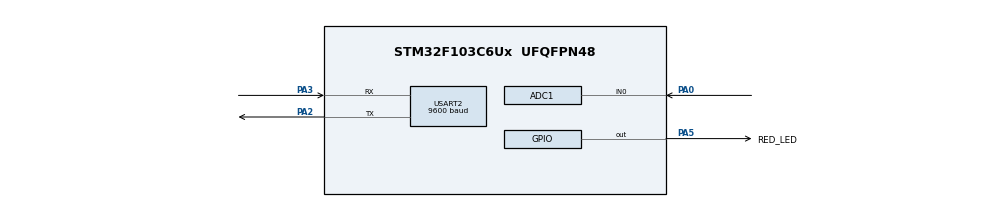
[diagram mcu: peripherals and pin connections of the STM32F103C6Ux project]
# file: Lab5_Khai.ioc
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ADC1.Channel-0\#ChannelRegularConversion=ADC_CHANNEL_0
ADC1.ContinuousConvMode=ENABLE
ADC1.NbrOfConversionFlag=1
ADC1.Rank-0\#ChannelRegularConversion=1
ADC1.SamplingTime-0\#ChannelRegularConversion=ADC_SAMPLETIME_1CYCLE_5
ADC1.master=1
Mcu.Family=STM32F1
Mcu.Name=STM32F103C6Ux
Mcu.Package=UFQFPN48
NVIC.PriorityGroup=NVIC_PRIORITYGROUP_4
NVIC.TIM2_IRQn=true\:0\:0\:false\:false\:true\:true\:true
NVIC.USART2_IRQn=true\:0\:0\:false\:false\:true\:true\:true
PA0-WKUP.Signal=ADCx_IN0
PA13.Mode=Serial_Wire
PA13.Signal=SYS_JTMS-SWDIO
PA14.Mode=Serial_Wire
PA14.Signal=SYS_JTCK-SWCLK
PA2.Mode=Asynchronous
PA2.Signal=USART2_TX
PA3.Mode=Asynchronous
PA3.Signal=USART2_RX
PA5.GPIO_Label=RED_LED
PA5.Signal=GPIO_Output
ProjectManager.HeapSize=0x200
ProjectManager.StackSize=0x400
ProjectManager.TargetToolchain=STM32CubeIDE
RCC.APB1Freq_Value=8000000
RCC.APB2Freq_Value=8000000
SH.ADCx_IN0.0=ADC1_IN0,IN0
TIM2.Period=9
TIM2.Prescaler=7999
USART2.BaudRate=9600
USART2.VirtualMode=VM_ASYNC
VP_TIM2_VS_ClockSourceINT.Mode=Internal
board=custom

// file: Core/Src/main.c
/* USER CODE BEGIN Header */
/**
  ******************************************************************************
  * @file           : main.c
  * @brief          : Main program body
  ******************************************************************************
  * @attention
  *
  * <h2><center>&copy; Copyright (c) 2022 STMicroelectronics.
  * All rights reserved.</center></h2>
  *
  * This software component is licensed by ST under BSD 3-Clause license,
  * the "License"; You may not use this file except in compliance with the
  * License. You may obtain a copy of the License at:
  *                        opensource.org/licenses/BSD-3-Clause
  *
  ******************************************************************************
  */
/* USER CODE END Header */
#include "main.h"
#include "software_timer.h"
#include "fsm_auto.h"

ADC_HandleTypeDef hadc1;

TIM_HandleTypeDef htim2;

UART_HandleTypeDef huart2;

void SystemClock_Config(void);
static void MX_GPIO_Init(void);
static void MX_ADC1_Init(void);
static void MX_USART2_UART_Init(void);
static void MX_TIM2_Init(void);

/* USER CODE BEGIN 0 */
uint8_t temp = 0;
uint8_t index_buffer = 0;
uint8_t buffer_flag = 0;
uint8_t recieve_buffer= 0;

uint8_t buffer[ MAX_BUFFER_SIZE ];
uint8_t command_length= 0;
void HAL_UART_RxCpltCallback ( UART_HandleTypeDef * huart ) {
    if( huart -> Instance == USART2 ) {
    	switch(temp) {
    	case '\b':
			buffer[command_length - 1] = 0;
			command_length--;
    	break;
    	case ' ':		// space
//    		ERROR_CODE = INVALID_INPUT;
//    		UARTstate = ERROR;
    	break;
    	case '\r':
    		buffer_flag = 1;
    		break;
    	default:
    		buffer[command_length] = temp;
    		command_length++;
    		break;
    	}
		HAL_UART_Receive_IT (& huart2 , & temp , 1) ;
    }
    timerRun();
}
/* USER CODE END 0 */

int main(void)
{

  /* MCU Configuration--------------------------------------------------------*/

  /* Reset of all peripherals, Initializes the Flash interface and the Systick. */
  HAL_Init();

  /* Configure the system clock */
  SystemClock_Config();

  /* Initialize all configured peripherals */
  MX_GPIO_Init();
  MX_ADC1_Init();
  MX_USART2_UART_Init();
  MX_TIM2_Init();
  /* USER CODE BEGIN 2 */
  HAL_UART_Receive_IT (& huart2 , & temp , 1) ;
  HAL_TIM_Base_Start_IT (& htim2 ) ;
  /* USER CODE END 2 */

  /* Infinite loop */
  while (1)
  {
	  if( buffer_flag == 1) {
	  	command_parser_fsm ();
	  	buffer_flag = 0;
	  }
	  uart_communiation_fsm ();
  }
}

void SystemClock_Config(void)
{
  RCC_OscInitTypeDef RCC_OscInitStruct = {0};
  RCC_ClkInitTypeDef RCC_ClkInitStruct = {0};
  RCC_PeriphCLKInitTypeDef PeriphClkInit = {0};

  /** Initializes the RCC Oscillators according to the specified parameters
  * in the RCC_OscInitTypeDef structure.
  */
  RCC_OscInitStruct.OscillatorType = RCC_OSCILLATORTYPE_HSI;
  RCC_OscInitStruct.HSIState = RCC_HSI_ON;
  RCC_OscInitStruct.HSICalibrationValue = RCC_HSICALIBRATION_DEFAULT;
  RCC_OscInitStruct.PLL.PLLState = RCC_PLL_NONE;
  if (HAL_RCC_OscConfig(&RCC_OscInitStruct) != HAL_OK)
  {
    Error_Handler();
  }
  /** Initializes the CPU, AHB and APB buses clocks
  */
  RCC_ClkInitStruct.ClockType = RCC_CLOCKTYPE_HCLK|RCC_CLOCKTYPE_SYSCLK
                              |RCC_CLOCKTYPE_PCLK1|RCC_CLOCKTYPE_PCLK2;
  RCC_ClkInitStruct.SYSCLKSource = RCC_SYSCLKSOURCE_HSI;
  RCC_ClkInitStruct.AHBCLKDivider = RCC_SYSCLK_DIV1;
  RCC_ClkInitStruct.APB1CLKDivider = RCC_HCLK_DIV1;
  RCC_ClkInitStruct.APB2CLKDivider = RCC_HCLK_DIV1;

  if (HAL_RCC_ClockConfig(&RCC_ClkInitStruct, FLASH_LATENCY_0) != HAL_OK)
  {
    Error_Handler();
  }
  PeriphClkInit.PeriphClockSelection = RCC_PERIPHCLK_ADC;
  PeriphClkInit.AdcClockSelection = RCC_ADCPCLK2_DIV2;
  if (HAL_RCCEx_PeriphCLKConfig(&PeriphClkInit) != HAL_OK)
  {
    Error_Handler();
  }
}

static void MX_ADC1_Init(void)
{

  ADC_ChannelConfTypeDef sConfig = {0};

  /** Common config
  */
  hadc1.Instance = ADC1;
  hadc1.Init.ScanConvMode = ADC_SCAN_DISABLE;
  hadc1.Init.ContinuousConvMode = ENABLE;
  hadc1.Init.DiscontinuousConvMode = DISABLE;
  hadc1.Init.ExternalTrigConv = ADC_SOFTWARE_START;
  hadc1.Init.DataAlign = ADC_DATAALIGN_RIGHT;
  hadc1.Init.NbrOfConversion = 1;
  if (HAL_ADC_Init(&hadc1) != HAL_OK)
  {
    Error_Handler();
  }
  /** Configure Regular Channel
  */
  sConfig.Channel = ADC_CHANNEL_0;
  sConfig.Rank = ADC_REGULAR_RANK_1;
  sConfig.SamplingTime = ADC_SAMPLETIME_1CYCLE_5;
  if (HAL_ADC_ConfigChannel(&hadc1, &sConfig) != HAL_OK)
  {
    Error_Handler();
  }

}

static void MX_TIM2_Init(void)
{

  TIM_ClockConfigTypeDef sClockSourceConfig = {0};
  TIM_MasterConfigTypeDef sMasterConfig = {0};

  htim2.Instance = TIM2;
  htim2.Init.Prescaler = 7999;
  htim2.Init.CounterMode = TIM_COUNTERMODE_UP;
  htim2.Init.Period = 9;
  htim2.Init.ClockDivision = TIM_CLOCKDIVISION_DIV1;
  htim2.Init.AutoReloadPreload = TIM_AUTORELOAD_PRELOAD_DISABLE;
  if (HAL_TIM_Base_Init(&htim2) != HAL_OK)
  {
    Error_Handler();
  }
  sClockSourceConfig.ClockSource = TIM_CLOCKSOURCE_INTERNAL;
  if (HAL_TIM_ConfigClockSource(&htim2, &sClockSourceConfig) != HAL_OK)
  {
    Error_Handler();
  }
  sMasterConfig.MasterOutputTrigger = TIM_TRGO_RESET;
  sMasterConfig.MasterSlaveMode = TIM_MASTERSLAVEMODE_DISABLE;
  if (HAL_TIMEx_MasterConfigSynchronization(&htim2, &sMasterConfig) != HAL_OK)
  {
    Error_Handler();
  }

}

static void MX_USART2_UART_Init(void)
{

  huart2.Instance = USART2;
  huart2.Init.BaudRate = 9600;
  huart2.Init.WordLength = UART_WORDLENGTH_8B;
  huart2.Init.StopBits = UART_STOPBITS_1;
  huart2.Init.Parity = UART_PARITY_NONE;
  huart2.Init.Mode = UART_MODE_TX_RX;
  huart2.Init.HwFlowCtl = UART_HWCONTROL_NONE;
  huart2.Init.OverSampling = UART_OVERSAMPLING_16;
  if (HAL_UART_Init(&huart2) != HAL_OK)
  {
    Error_Handler();
  }

}

static void MX_GPIO_Init(void)
{
  GPIO_InitTypeDef GPIO_InitStruct = {0};

  /* GPIO Ports Clock Enable */
  __HAL_RCC_GPIOA_CLK_ENABLE();

  /*Configure GPIO pin Output Level */
  HAL_GPIO_WritePin(RED_LED_GPIO_Port, RED_LED_Pin, GPIO_PIN_RESET);

  /*Configure GPIO pin : RED_LED_Pin */
  GPIO_InitStruct.Pin = RED_LED_Pin;
  GPIO_InitStruct.Mode = GPIO_MODE_OUTPUT_PP;
  GPIO_InitStruct.Pull = GPIO_NOPULL;
  GPIO_InitStruct.Speed = GPIO_SPEED_FREQ_LOW;
  HAL_GPIO_Init(RED_LED_GPIO_Port, &GPIO_InitStruct);

}

void Error_Handler(void)
{
  __disable_irq();
  while (1)
  {
  }
}

/************************ (C) COPYRIGHT STMicroelectronics *****END OF FILE****/
